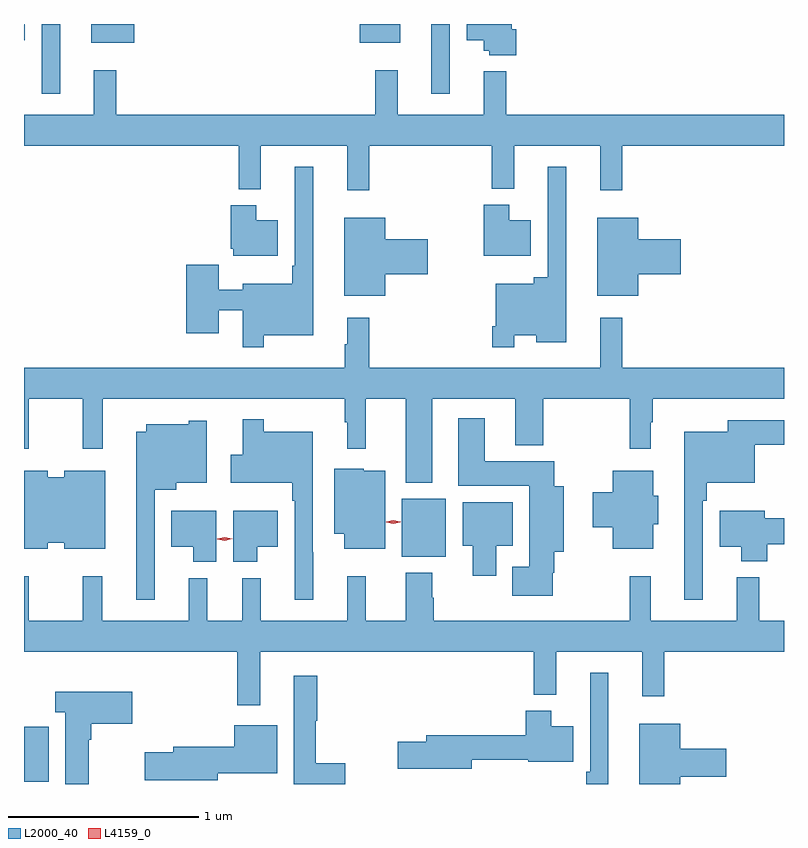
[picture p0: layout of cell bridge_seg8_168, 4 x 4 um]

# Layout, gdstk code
import gdstk
lib = gdstk.Library(unit=1e-6, precision=1e-09)
def R(c, l, rs):  # rectangles x0, y0, x1, y1
    for r in rs: c.add(gdstk.rectangle(r[:2], r[2:], *l))
def P(c, l, *ps):  # polygons
    for p in ps: c.add(gdstk.Polygon(p, *l))
L2000_40 = (2000, 40)
L4159_0 = (4159, 0)

bridge_seg8_168 = lib.new_cell('bridge_seg8_168')
R(bridge_seg8_168, L2000_40, [(544.542,1090.508,544.672,1090.798), (546.53,1091.693,546.763,1091.998), (544.635,1094.13,544.732,1094.497), (546.686,1094.13,546.783,1094.497), (544.895,1094.399,545.122,1094.497), (546.308,1094.399,546.523,1094.497), (544.542,1094.411,544.546,1094.497)])
P(bridge_seg8_168, L2000_40, [(547.133,1094.469),(547.108,1094.469),(547.108,1094.497),(546.872,1094.497),(546.872,1094.411),(546.962,1094.411),(546.962,1094.355),(546.99,1094.355),(546.99,1094.333),(547.133,1094.333)],
  [(546.359,1093.856),(547.003,1093.856),(547.003,1093.631),(547.121,1093.631),(547.121,1093.856),(547.574,1093.856),(547.574,1093.623),(547.691,1093.623),(547.691,1093.856),(548.542,1093.856),(548.542,1094.02),(547.079,1094.02),(547.079,1094.248),(546.962,1094.248),(546.962,1094.02),(546.509,1094.02),(546.509,1094.254),(546.391,1094.254),(546.391,1094.02),(545.027,1094.02),(545.027,1094.254),(544.91,1094.254),(544.91,1094.02),(544.542,1094.02),(544.542,1093.856),(545.671,1093.856),(545.671,1093.628),(545.789,1093.628),(545.789,1093.856),(546.242,1093.856),(546.242,1093.623),(546.359,1093.623)],
  [(547.122,1092.86),(547.238,1092.86),(547.238,1092.821),(547.396,1092.821),(547.396,1093.747),(547.299,1093.747),(547.299,1093.165),(547.226,1093.165),(547.226,1093.129),(547.026,1093.129),(547.026,1092.907),(547.006,1092.907),(547.006,1092.795),(547.122,1092.795)],
  [(545.803,1092.86),(546.064,1092.86),(546.064,1093.747),(545.967,1093.747),(545.967,1093.225),(545.955,1093.225),(545.955,1093.129),(545.693,1093.129),(545.693,1093.099),(545.566,1093.099),(545.566,1093.231),(545.396,1093.231),(545.396,1092.87),(545.566,1092.87),(545.566,1092.99),(545.694,1092.99),(545.694,1092.795),(545.803,1092.795)],
  [(547.21,1093.465),(547.096,1093.465),(547.096,1093.546),(546.962,1093.546),(546.962,1093.277),(547.21,1093.277)],
  [(545.878,1093.465),(545.764,1093.465),(545.764,1093.543),(545.63,1093.543),(545.63,1093.314),(545.642,1093.314),(545.642,1093.277),(545.878,1093.277)],
  [(547.774,1093.181),(547.999,1093.181),(547.999,1093.364),(547.774,1093.364),(547.774,1093.477),(547.559,1093.477),(547.559,1093.067),(547.774,1093.067)],
  [(546.442,1093.181),(546.667,1093.181),(546.667,1093.364),(546.442,1093.364),(546.442,1093.477),(546.227,1093.477),(546.227,1093.067),(546.442,1093.067)],
  [(546.691,1092.524),(547.127,1092.524),(547.127,1092.281),(547.275,1092.281),(547.275,1092.524),(547.731,1092.524),(547.731,1092.261),(547.84,1092.261),(547.84,1092.401),(547.852,1092.401),(547.852,1092.524),(548.542,1092.524),(548.542,1092.688),(547.691,1092.688),(547.691,1092.952),(547.574,1092.952),(547.574,1092.688),(546.359,1092.688),(546.359,1092.952),(546.242,1092.952),(546.242,1092.812),(546.231,1092.812),(546.231,1092.688),(544.542,1092.688),(544.542,1092.261),(544.568,1092.261),(544.568,1092.524),(544.852,1092.524),(544.852,1092.261),(544.956,1092.261),(544.956,1092.524),(546.231,1092.524),(546.231,1092.401),(546.242,1092.401),(546.242,1092.261),(546.341,1092.261),(546.341,1092.524),(546.551,1092.524),(546.551,1092.083),(546.691,1092.083)],
  [(547.324,1091.609),(547.332,1091.609),(547.332,1091.72),(547.384,1091.72),(547.384,1092.064),(547.332,1092.064),(547.332,1092.196),(546.967,1092.196),(546.967,1092.421),(546.827,1092.421),(546.827,1092.068),(547.202,1092.068),(547.202,1091.641),(547.112,1091.641),(547.112,1091.489),(547.324,1091.489)],
  [(546.064,1091.717),(546.063,1091.717),(546.063,1092.352),(545.803,1092.352),(545.803,1092.418),(545.693,1092.418),(545.693,1092.231),(545.63,1092.231),(545.63,1092.083),(545.955,1092.083),(545.955,1091.987),(545.967,1091.987),(545.967,1091.466),(546.064,1091.466)],
  [(548.115,1091.987),(548.135,1091.987),(548.135,1092.083),(548.389,1092.083),(548.389,1092.283),(548.542,1092.283),(548.542,1092.412),(548.246,1092.412),(548.246,1092.352),(548.018,1092.352),(548.018,1091.466),(548.115,1091.466)],
  [(545.229,1092.047),(545.344,1092.047),(545.344,1092.083),(545.503,1092.083),(545.503,1092.409),(545.409,1092.409),(545.409,1092.391),(545.186,1092.391),(545.186,1092.352),(545.132,1092.352),(545.132,1091.466),(545.229,1091.466)],
  [(546.442,1092.145),(546.33,1092.145),(546.33,1092.157),(546.176,1092.157),(546.176,1091.813),(546.227,1091.813),(546.227,1091.735),(546.442,1091.735)],
  [(547.855,1091.865),(547.879,1091.865),(547.879,1092.015),(547.855,1092.015),(547.855,1092.145),(547.64,1092.145),(547.64,1092.032),(547.535,1092.032),(547.535,1091.849),(547.64,1091.849),(547.64,1091.735),(547.855,1091.735)],
  [(544.666,1091.768),(544.754,1091.768),(544.754,1091.735),(544.969,1091.735),(544.969,1092.145),(544.754,1092.145),(544.754,1092.112),(544.666,1092.112),(544.666,1092.145),(544.542,1092.145),(544.542,1091.735),(544.666,1091.735)],
  [(547.027,1091.75),(547.114,1091.75),(547.114,1091.98),(546.851,1091.98),(546.851,1091.75),(546.905,1091.75),(546.905,1091.592),(547.027,1091.592)],
  [(545.554,1091.935),(545.318,1091.935),(545.318,1091.747),(545.432,1091.747),(545.432,1091.666),(545.554,1091.666)],
  [(545.77,1091.747),(545.878,1091.747),(545.878,1091.935),(545.642,1091.935),(545.642,1091.666),(545.77,1091.666)],
  [(548.453,1091.758),(548.542,1091.758),(548.542,1091.895),(548.44,1091.895),(548.44,1091.935),(548.204,1091.935),(548.204,1091.747),(548.318,1091.747),(548.318,1091.669),(548.453,1091.669)],
  [(545.664,1090.911),(545.785,1090.911),(545.785,1091.192),(547.225,1091.192),(547.225,1090.967),(547.343,1090.967),(547.343,1091.192),(547.796,1091.192),(547.796,1090.959),(547.913,1090.959),(547.913,1091.192),(548.542,1091.192),(548.542,1091.356),(548.411,1091.356),(548.411,1091.584),(548.294,1091.584),(548.294,1091.356),(547.841,1091.356),(547.841,1091.59),(547.731,1091.59),(547.731,1091.356),(546.699,1091.356),(546.699,1091.477),(546.691,1091.477),(546.691,1091.608),(546.551,1091.608),(546.551,1091.356),(546.341,1091.356),(546.341,1091.59),(546.242,1091.59),(546.242,1091.356),(545.789,1091.356),(545.789,1091.581),(545.69,1091.581),(545.69,1091.356),(545.507,1091.356),(545.507,1091.581),(545.408,1091.581),(545.408,1091.356),(544.955,1091.356),(544.955,1091.59),(544.852,1091.59),(544.852,1091.356),(544.568,1091.356),(544.568,1091.59),(544.542,1091.59),(544.542,1091.192),(545.664,1091.192)],
  [(547.618,1091.083),(547.521,1091.083),(547.521,1090.561),(547.501,1090.561),(547.501,1090.497),(547.618,1090.497)],
  [(546.232,1090.606),(546.077,1090.606),(546.077,1090.829),(546.085,1090.829),(546.085,1091.068),(545.963,1091.068),(545.963,1090.497),(546.232,1090.497)],
  [(544.882,1090.73),(544.895,1090.73),(544.895,1090.814),(545.113,1090.814),(545.113,1090.983),(544.707,1090.983),(544.707,1090.875),(544.76,1090.875),(544.76,1090.497),(544.882,1090.497)],
  [(546.898,1090.624),(547.196,1090.624),(547.196,1090.613),(547.432,1090.613),(547.432,1090.801),(547.318,1090.801),(547.318,1090.882),(547.184,1090.882),(547.184,1090.753),(546.659,1090.753),(546.659,1090.719),(546.51,1090.719),(546.51,1090.577),(546.898,1090.577)],
  [(547.996,1090.535),(548.239,1090.535),(548.239,1090.682),(547.996,1090.682),(547.996,1090.813),(547.781,1090.813),(547.781,1090.497),(547.996,1090.497)],
  [(545.562,1090.553),(545.875,1090.553),(545.875,1090.807),(545.648,1090.807),(545.648,1090.694),(545.327,1090.694),(545.327,1090.664),(545.178,1090.664),(545.178,1090.517),(545.562,1090.517)])
P(bridge_seg8_168, L4159_0, [(546.486,1091.866),(546.449,1091.875),(546.449,1091.876),(546.449,1091.876),(546.486,1091.886),(546.523,1091.876),(546.524,1091.876),(546.523,1091.875)],
  [(545.598,1091.777),(545.558,1091.786),(545.558,1091.786),(545.558,1091.787),(545.598,1091.797),(545.638,1091.787),(545.638,1091.787),(545.638,1091.787)])

lib.write_gds('bridge_seg8_168.gds')
